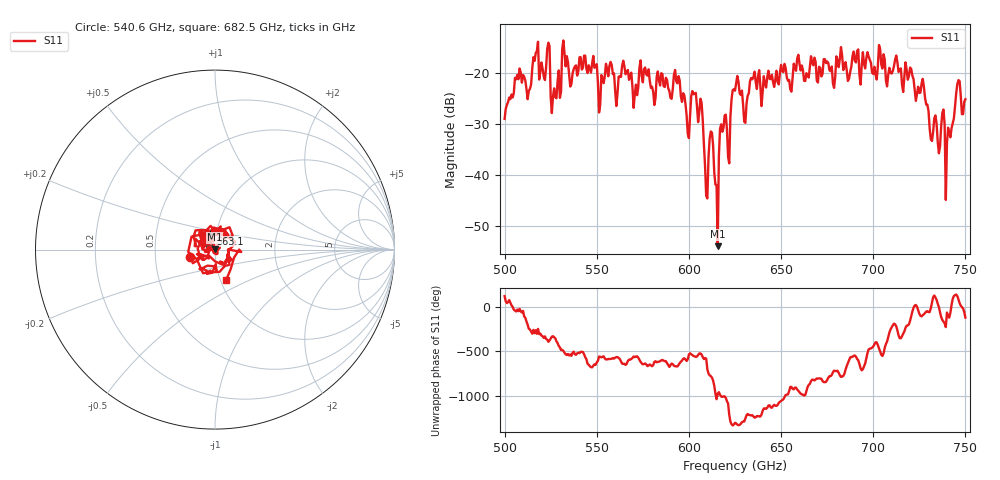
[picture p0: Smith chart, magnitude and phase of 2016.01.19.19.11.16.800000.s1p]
!Created with skrf (http://scikit-rf.org).
# GHz S RI R 50.0
!freq ReS11 ImS11
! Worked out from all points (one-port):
!   401 points, 500 GHz to 750 GHz, reference 50 ohm
!   lowest |S11| = -53.9 dB at 615.6 GHz (marker M1), VSWR 1.00, Z = 50 + j0.197 ohm
!   |S11| at or under -10 dB: start of sweep to end of sweep
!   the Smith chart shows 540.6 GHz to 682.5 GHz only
!   S11 on the Smith chart (normalised r, x): 540.6 GHz: 0.76, -0.06; 563.1 GHz: 0.93, +0.17; 682.5 GHz: 1.06, -0.37
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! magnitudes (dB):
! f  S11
! 500 GHz  -28.9
! 513.1 GHz  -23.4
! 516.9 GHz  -16.0
! 523.1 GHz  -15.2
! 526.2 GHz  -24.5
! 531.2 GHz  -15.2
! 540.6 GHz  -16.8
! 562.5 GHz  -20.5
! 563.1 GHz  -20.7
! 593.8 GHz  -21.9
! 599.4 GHz  -31.9
! 603.1 GHz  -23.9
! 606.9 GHz  -25.8
! 609.4 GHz  -44.0
! 611.9 GHz  -31.4
! 615.6 GHz  -53.9
! 618.1 GHz  -31.5
! 621.9 GHz  -37.7
! 625 GHz  -23.4
! 630.6 GHz  -29.7
! 634.4 GHz  -21.1
! 656.2 GHz  -20.8
! 682.5 GHz  -14.8
! 687.5 GHz  -19.7
! 718.8 GHz  -21.2
! 740.6 GHz  -30.7
! 745.6 GHz  -22.1
! 750 GHz  -25.1
